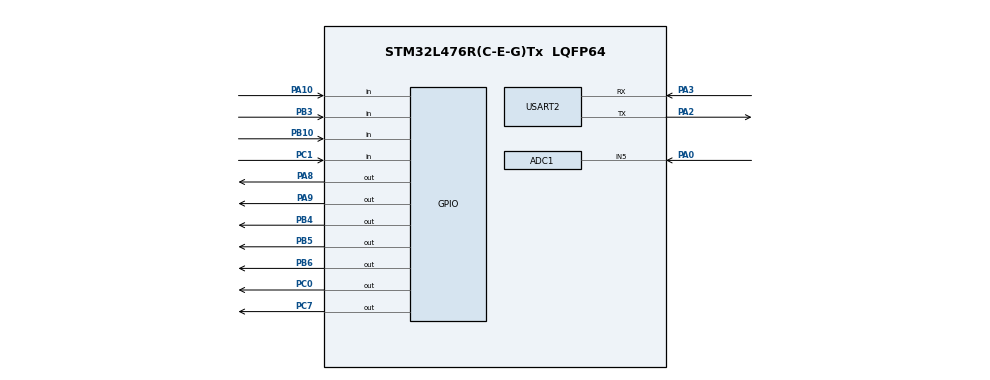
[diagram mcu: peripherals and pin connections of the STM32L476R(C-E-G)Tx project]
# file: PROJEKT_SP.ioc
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ADC1.Channel-3\#ChannelRegularConversion=ADC_CHANNEL_5
ADC1.ClockPrescaler=ADC_CLOCK_ASYNC_DIV4
ADC1.ContinuousConvMode=ENABLE
ADC1.NbrOfConversionFlag=1
ADC1.OffsetNumber-3\#ChannelRegularConversion=ADC_OFFSET_NONE
ADC1.Rank-3\#ChannelRegularConversion=1
ADC1.SamplingTime-3\#ChannelRegularConversion=ADC_SAMPLETIME_2CYCLES_5
ADC1.master=1
Mcu.Family=STM32L4
Mcu.Name=STM32L476R(C-E-G)Tx
Mcu.Package=LQFP64
NVIC.PriorityGroup=NVIC_PRIORITYGROUP_4
NVIC.TIM2_IRQn=true\:0\:0\:false\:false\:true\:true\:true\:true
NVIC.USART2_IRQn=true\:0\:0\:false\:false\:true\:true\:true\:true
PA0.Signal=ADCx_IN5
PA10.GPIO_PuPd=GPIO_PULLUP
PA10.Signal=GPIO_Input
PA2.Mode=Asynchronous
PA2.Signal=USART2_TX
PA3.Mode=Asynchronous
PA3.Signal=USART2_RX
PA8.Signal=GPIO_Output
PA9.Signal=GPIO_Output
PB10.GPIO_PuPd=GPIO_PULLUP
PB10.Signal=GPIO_Input
PB3\ (JTDO-TRACESWO).GPIO_PuPd=GPIO_PULLUP
PB3\ (JTDO-TRACESWO).Signal=GPIO_Input
PB4\ (NJTRST).Signal=GPIO_Output
PB5.Signal=GPIO_Output
PB6.Signal=GPIO_Output
PC0.Signal=GPIO_Output
PC1.Signal=GPIO_Input
PC7.Signal=GPIO_Output
ProjectManager.HeapSize=0x200
ProjectManager.StackSize=0x400
ProjectManager.TargetToolchain=STM32CubeIDE
RCC.ADCFreq_Value=64000000
RCC.AHBFreq_Value=80000000
RCC.APB1Freq_Value=80000000
RCC.APB1TimFreq_Value=80000000
RCC.APB2Freq_Value=80000000
RCC.APB2TimFreq_Value=80000000
RCC.CortexFreq_Value=80000000
RCC.HCLKFreq_Value=80000000
RCC.HSE_VALUE=8000000
RCC.HSI_VALUE=16000000
RCC.LSE_VALUE=32768
RCC.MSI_VALUE=4000000
RCC.PLLN=10
RCC.PLLSourceVirtual=RCC_PLLSOURCE_HSI
RCC.SYSCLKFreq_VALUE=80000000
RCC.SYSCLKSource=RCC_SYSCLKSOURCE_PLLCLK
RCC.USBFreq_Value=64000000
RCC.VCOOutputFreq_Value=160000000
SH.ADCx_IN5.0=ADC1_IN5,IN5-Single-Ended
TIM2.AutoReloadPreload=TIM_AUTORELOAD_PRELOAD_DISABLE
TIM2.Period=999
TIM2.Prescaler=7999
USART2.VirtualMode-Asynchronous=VM_ASYNC
VP_IWDG_VS_IWDG.Mode=IWDG_Activate
VP_RTC_VS_RTC_Activate.Mode=RTC_Enabled
VP_TIM2_VS_ClockSourceINT.Mode=Internal
board=custom

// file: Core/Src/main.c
/* USER CODE BEGIN Header */
/**
  ******************************************************************************
	Symulator sterownika PLC na STM32.
	Bloki: TON, TOF, CTU, CTD, R_TRIG.
  ******************************************************************************
  */
/* USER CODE END Header */

#include "main.h"
#include <stdio.h> //printf
#include <stdbool.h> //bool, true itp.
// nasza biblioteki (bloki logiczne)
#include "plc_blocks.h"

// wygenerowane
ADC_HandleTypeDef hadc1;       // Przetwornik Analogowo-Cyfrowy (Poziom wody)
IWDG_HandleTypeDef hiwdg;      // Watchdog
UART_HandleTypeDef huart2;     // Komunikacja szeregowa (Wysyłanie danych do PC)
RTC_HandleTypeDef hrtc;        // Zegar RTC + Rejestry Backup (Pamięć trwała)
TIM_HandleTypeDef htim2;       // Timer sprzętowy (Baza czasu)

/* USER CODE BEGIN PV */

// 1. KONFIGURACJA PARAMETRÓW

#define PLC_SCAN_TIME_MS    50     // Cykl programu (50ms = 20Hz)

// PARKING
#define PARKING_CAPACITY    5

// MIESZALNIK
#define MIXER_CYCLES_LIMIT  2       // serwis (CTD)
#define MIXER_TIME_TOTAL    10000
#define MIXER_PHASE_1       3000
#define MIXER_PHASE_2       8000
#define AUTO_RESET_TIME_MS  3000

// ZBIORNIK
#define TANK_MIN            10
#define TANK_MAX            90
#define PUMP_START_LVL      20
#define PUMP_STOP_LVL       80
#define PUMP_DELAY_MS       2000    // Czas opóźnienia załączenia pompy (TON)
#define FAN_COOLDOWN_MS     3000    // Czas chłodzenia po wyłączeniu (TOF)

// 2. PLC_BLOKI

// TONy
TON_Block    T_Mixer;
TON_Block    T_PumpDelay;
TON_Block    T_AutoReset;

// TOFy
TOF_Block    T_Fan; //pompa

// Liczniki (CTU, CTD)
CTU_Block    C_Parking_Entry;
CTD_Block    C_Service;
CTD_Block    C_Parking_Exit;

// Wyzwalacze (Triggers)
R_TRIG_Block Trig_Start;     // Wykrywanie zbocza narastającego (przycisk wyjazdu)

// 3. LOGIKA PLC - główna pętla

// Wejścia (Sensory i Przyciski)
typedef struct {
    bool Btn_Entry;     // Przycisk wjazdu
    bool Btn_Exit;      // Przycisk wyjazdu
    bool Btn_Start;     // Przycisk startu mieszalnika
    bool Car_Sensor;    // Czujnik (True = Auto w bramie)
    uint32_t Dist_CM;   // Odległość (cm)
    uint8_t Tank_Level; // Poziom wody (0-100%)
} Inputs_T;

// Wyjścia
typedef struct {
    bool Pump;          // Silnik pompy
    bool RGB_R;         // Dioda Czerwona
    bool RGB_G;         // Dioda Zielona
    bool RGB_B;         // Dioda Niebieska
    bool Led_Full;      // Lampa "Parking Pełny"
    bool Led_Free;      // Lampa "Parking Wolny"
    bool Fan_Cooling;   // Wentylator pompy
    bool Service_Req;   // dioda "Wymagany Serwis"
    bool Auto_Cleaning; // dioda "Trwa Czyszczenie"
} Outputs_T;

// Flagi
typedef struct {
    bool Mixer_Running;
    bool Alarm_Low;
    bool Alarm_High;
    bool Critical_Error;
} System_T;

Inputs_T  In;
Outputs_T Out;
System_T  Sys;

/* USER CODE END PV */

// Deklaracje funkcji
void SystemClock_Config(void);
static void MX_GPIO_Init(void);
static void MX_IWDG_Init(void);
static void MX_USART2_UART_Init(void);
static void MX_ADC1_Init(void);
static void MX_RTC_Init(void);
static void MX_TIM2_Init(void);

// funkcje sterujące
void ReadInputs(void);          // Krok 1: Odczyt
void Logic_Factory(void);       // Krok 2: Logika
void WriteOutputs(void);        // Krok 3: Sterowanie
void Safety_Check(void);        // Krok Bezpieczeństwa
void PrintDashboard(void);      // Wizualizacja
uint32_t HCSR04_Read(void);     // Czujnik odległości
void DrawBar(uint8_t val);      // Pasek poziomu cieczy

// PuTTY
int __io_putchar(int ch) {
    HAL_UART_Transmit(&huart2, (uint8_t*) &ch, 1, 10);
    return ch;
}
int _write(int file, char *ptr, int len) {
    for (int i = 0; i < len; i++) __io_putchar(*ptr++);
    return len;
}

int main(void)
{
  // Inicjalizacja sprzętu
  HAL_Init();
  SystemClock_Config();
  MX_GPIO_Init();
  MX_IWDG_Init();
  MX_USART2_UART_Init();
  MX_ADC1_Init();
  MX_RTC_Init();
  MX_TIM2_Init();

  HAL_PWR_EnableBkUpAccess();

  // INICJALIZACJA LOGIKI PLC
//--------------------------------------------------------------------------------
  // PARKING - Odtwarzanie stanu z pamięci
  uint32_t saved_parking = HAL_RTCEx_BKUPRead(&hrtc, RTC_BKP_DR0);
  // Zabezpieczenie przed złą ilością
  if(saved_parking > PARKING_CAPACITY) saved_parking = 0;

  C_Parking_Entry.CV = (uint16_t)saved_parking;
    C_Parking_Entry.PV = PARKING_CAPACITY;
    C_Parking_Entry.R  = false;

    C_Parking_Exit.PV = 0; // Limit wyjazdu to 0
    C_Parking_Exit.LD = false;

  // SERWIS - Odtwarzanie stanu z pamięci
  uint32_t saved_service = HAL_RTCEx_BKUPRead(&hrtc, RTC_BKP_DR1);
  // Jeśli pamięć 0 lub błędna -> Załaduj domyślny limit
  if (saved_service == 0 || saved_service > MIXER_CYCLES_LIMIT) {
      C_Service.CV = MIXER_CYCLES_LIMIT;
  } else {
      C_Service.CV = (uint16_t)saved_service;
  }
  C_Service.PV = MIXER_CYCLES_LIMIT;
  C_Service.LD = false;

  // Konfiguracja Timerów
  T_Mixer.PT = MIXER_TIME_TOTAL;
  T_PumpDelay.PT = PUMP_DELAY_MS;
  T_Fan.PT = FAN_COOLDOWN_MS;
  T_AutoReset.PT = AUTO_RESET_TIME_MS;

  HAL_ADCEx_Calibration_Start(&hadc1, ADC_SINGLE_ENDED);

  printf("\033[2J\033[H");
  printf("SYSTEM START: PLC - ZASTOSOWANIE (AUTO-RESET)\r\n");
//-----------------------------------------------------------------------------------------------
  // GŁÓWNA PĘTLA PLC
  while (1)
  {
      uint32_t loop_start = HAL_GetTick(); // Zapis czasu startu cyklu

      // ODCZYT WEJŚĆ
      ReadInputs();

      // KONTROLA BEZPIECZEŃSTWA
      Safety_Check();

      // WYKONANIE LOGIKI
      Logic_Factory();

      // ZAPIS WYJŚĆ
      WriteOutputs();

      // OBSŁUGA WATCHDOGA
      if (hiwdg.Instance != NULL) HAL_IWDG_Refresh(&hiwdg);

      // WIZUALIZACJA (HMI)
      static uint32_t last_print = 0;
      if (loop_start - last_print > 250) {
          last_print = loop_start;
          PrintDashboard();
      }

      // STAŁY CZAS CYKLU
      while((HAL_GetTick() - loop_start) < PLC_SCAN_TIME_MS) {
          __NOP(); // Nic nie rób (czekaj)
      }
  }
}

    void Logic_Factory(void) {

        // PARKING (CTU + CTD = CTUD)

        // Przekaż stan z CTU do CTD
        C_Parking_Exit.CV = C_Parking_Entry.CV;

        // WYJAZD (Blok CTD)
        C_Parking_Exit.CD = In.Btn_Exit;
        CTD_Update(&C_Parking_Exit);

        C_Parking_Entry.CV = C_Parking_Exit.CV;

        // WJAZD (Blok CTU)
        C_Parking_Entry.CU = In.Btn_Entry;
        CTU_Update(&C_Parking_Entry);

        if (C_Parking_Entry.CV > C_Parking_Entry.PV) C_Parking_Entry.CV = C_Parking_Entry.PV;

        static uint16_t last_park_cv = 0;
        if (C_Parking_Entry.CV != last_park_cv) {
            HAL_RTCEx_BKUPWrite(&hrtc, RTC_BKP_DR0, C_Parking_Entry.CV);
            last_park_cv = C_Parking_Entry.CV;
        }

        if (C_Parking_Entry.Q) { Out.Led_Full = true; Out.Led_Free = false; }
        else                   { Out.Led_Full = false; Out.Led_Free = true; }

    // ZBIORNIK

    // Wykrywanie alarmów
    Sys.Alarm_Low  = (In.Tank_Level < TANK_MIN);
    Sys.Alarm_High = (In.Tank_Level > TANK_MAX);

    // POMPA - Timer TON
    T_PumpDelay.IN = (In.Tank_Level < PUMP_START_LVL);
    TON_Update(&T_PumpDelay);

    // Logika sterowania pompą (Histereza + Timer)
    if (T_PumpDelay.Q) Out.Pump = true; // Włącz po opóźnieniu
    if (In.Tank_Level > PUMP_STOP_LVL || Sys.Alarm_High) Out.Pump = false; // Wyłącz natychmiast

    // WENTYLATOR - Timer TOF
    T_Fan.IN = Out.Pump;
    TOF_Update(&T_Fan);
    Out.Fan_Cooling = T_Fan.Q; // dioda

    // MIESZALNIK

    if (C_Service.Q) {
        T_AutoReset.IN = true;    // Uruchom timer czyszczenia
        Out.Auto_Cleaning = true; // Zapal lampę - czyszczenie
    } else {
        T_AutoReset.IN = false;
        Out.Auto_Cleaning = false;
    }

    TON_Update(&T_AutoReset);

    if (T_AutoReset.Q) {
        C_Service.LD = true;
    } else {
        C_Service.LD = false;
    }

    // Blokada startu - jesli ok mozesz ruszac
    bool service_ok = !C_Service.Q;

    //TRIGGER
        Trig_Start.CLK = In.Btn_Start;

        R_TRIG_Update(&Trig_Start);

        if (Trig_Start.Q && service_ok) {
            Sys.Mixer_Running = true;
        }

    // Timer TON
    T_Mixer.IN = Sys.Mixer_Running;
    TON_Update(&T_Mixer);

    // Zmienna pomocnicza do wykrycia końca cyklu (impuls)
    bool cycle_finished_pulse = false;

    Out.RGB_R = 0; Out.RGB_G = 0; Out.RGB_B = 0;
    if (Sys.Mixer_Running) {
        uint32_t t = T_Mixer.ET;
        if (t < MIXER_PHASE_1)      Out.RGB_B = true; // Faza 1
        else if (t < MIXER_PHASE_2) Out.RGB_G = true; // Faza 2
        else                        Out.RGB_R = true; // Faza 3

        // Koniec procesu (Timer doliczył)
        if (T_Mixer.Q) {
            cycle_finished_pulse = true; // Wygeneruj impuls dla licznika
            Sys.Mixer_Running = false;   // Zatrzymaj proces
            T_Mixer.IN = false;          // Resetuj wejście timera
            TON_Update(&T_Mixer);        // Wykonaj update, żeby wyzerować ET
        }
    }

    // Blok CTD (Counter Down)
    C_Service.CD = cycle_finished_pulse;
    CTD_Update(&C_Service);

    // Zapis stanu licznika do pamięci trwałej
    static uint16_t last_service_cv = 0;
    if (C_Service.CV != last_service_cv) {
        HAL_RTCEx_BKUPWrite(&hrtc, RTC_BKP_DR1, C_Service.CV);
        last_service_cv = C_Service.CV;
    }

    // Aktualizacja statusu
    Out.Service_Req = C_Service.Q; // Q=true gdy licznik osiągnie 0
}

// WARSTWA SPRZĘTOWA

void ReadInputs(void) {

    static uint32_t adc_sum = 0;
    static uint8_t adc_count = 0;
    static uint8_t target_level = 0;
    static float simulated_water = 0.0f;

    HAL_ADC_Start(&hadc1);
    if (HAL_ADC_PollForConversion(&hadc1, 10) == HAL_OK) {
        adc_sum += HAL_ADC_GetValue(&hadc1);
        adc_count++;
    }
    if (adc_count >= 10) {
        target_level = ((adc_sum / 10) * 100) / 4095;
        adc_sum = 0; adc_count = 0;
    }

    const float FILL_SPEED = 2.0f;

    if (simulated_water < target_level) {
        simulated_water += FILL_SPEED; // Napełnianie
        if (simulated_water > target_level) simulated_water = target_level;
    }
    else if (simulated_water > target_level) {
        simulated_water -= FILL_SPEED; // Opróżnianie
        if (simulated_water < target_level) simulated_water = target_level;
    }
    In.Tank_Level = (uint8_t)simulated_water;

    // CZUJNIK ODLEGŁOŚCI
    In.Dist_CM = HCSR04_Read();
    In.Car_Sensor = (In.Dist_CM > 0 && In.Dist_CM < 15); // Auto < 15cm

    // PRZYCISKI
    bool btn_phys_entry = (HAL_GPIO_ReadPin(GPIOA, GPIO_PIN_10) == GPIO_PIN_RESET);
    In.Btn_Entry = btn_phys_entry || In.Car_Sensor; // Przycisk LUB czujnik
    In.Btn_Exit  = (HAL_GPIO_ReadPin(GPIOB, GPIO_PIN_3) == GPIO_PIN_RESET);
    In.Btn_Start = (HAL_GPIO_ReadPin(GPIOB, GPIO_PIN_10) == GPIO_PIN_RESET);
}

void WriteOutputs(void) {
    // Przepisanie stanów logicznych (true/false) na napięcia (3.3V/0V)
    HAL_GPIO_WritePin(GPIOA, GPIO_PIN_8, Out.Pump ? GPIO_PIN_SET : GPIO_PIN_RESET);
    HAL_GPIO_WritePin(GPIOB, GPIO_PIN_4, Out.Led_Full ? GPIO_PIN_SET : GPIO_PIN_RESET);
    HAL_GPIO_WritePin(GPIOB, GPIO_PIN_5, Out.Led_Free ? GPIO_PIN_SET : GPIO_PIN_RESET);
    // Diody RGB
    HAL_GPIO_WritePin(GPIOA, GPIO_PIN_9, Out.RGB_R ? GPIO_PIN_RESET : GPIO_PIN_SET);
    HAL_GPIO_WritePin(GPIOC, GPIO_PIN_7, Out.RGB_G ? GPIO_PIN_RESET : GPIO_PIN_SET);
    HAL_GPIO_WritePin(GPIOB, GPIO_PIN_6, Out.RGB_B ? GPIO_PIN_RESET : GPIO_PIN_SET);
}

// Funkcja bezpieczeństwa
void Safety_Check(void) {
    if (In.Car_Sensor && In.Btn_Exit) Sys.Critical_Error = true;

    if (Sys.Critical_Error) {
        HAL_GPIO_WritePin(GPIOA, GPIO_PIN_8, GPIO_PIN_RESET); // Wyłącz pompę!
        printf("\033[2J\033[H!!! CRITICAL ERROR !!!\r\n");
        while(1); // Zawieś procesor (czekaj na Watchdog)
    }
}

// Obsługa czujnika HC-SR04
uint32_t HCSR04_Read(void) {
    uint32_t local_time = 0;
    // 1. Trigger (Impuls 10us)
    HAL_GPIO_WritePin(GPIOC, GPIO_PIN_0, GPIO_PIN_RESET); for(int i=0;i<500;i++);
    HAL_GPIO_WritePin(GPIOC, GPIO_PIN_0, GPIO_PIN_SET);   for(int i=0;i<2000;i++);
    HAL_GPIO_WritePin(GPIOC, GPIO_PIN_0, GPIO_PIN_RESET);
    // 2. Czekaj na Echo
    uint32_t t = 50000;
    while (HAL_GPIO_ReadPin(GPIOC, GPIO_PIN_1) == GPIO_PIN_RESET) { if(t-- == 0) return 0; }
    // 3. Mierz czas trwania Echo
    t = 50000;
    while (HAL_GPIO_ReadPin(GPIOC, GPIO_PIN_1) == GPIO_PIN_SET) { local_time++; if(t-- == 0) break; }
    return local_time / 50; // Skalowanie do cm
}

void DrawBar(uint8_t val) {
    printf("[");
    for(int i=0; i<20; i++) printf((i < val/5) ? "#" : ".");
    printf("]");
}

// Wizualizacja w terminalu PuTTY
void PrintDashboard(void) {
    printf("\033[?25l\033[H");
    printf("PROJEKT_SPC_STEROWNIK_PLC_NA_STM32)\033[K\r\n");
    printf("Bloki: TON, TOF, CTU, CTD, R_TRIG\033[K\r\n\r\n");

    printf("[1] ZBIORNIK (TON + TOF)\033[K\r\n");
    printf("    Poziom: "); DrawBar(In.Tank_Level); printf(" %3d%%\033[K\r\n", In.Tank_Level);
    printf("    Pompa:  %s  (Timer ON:  %4lu ms)\033[K\r\n", Out.Pump ? "\033[32m[ON] \033[0m" : "[OFF]", T_PumpDelay.ET);
    printf("    Wentyl: %s  (Timer OFF: %4lu ms)\033[K\r\n",
           Out.Fan_Cooling ? "\033[36m[RUN]\033[0m" : "[---]", T_Fan.ET);

    printf("--------------------------------------------\033[K\r\n");

    printf("[2] PARKING (CTU + CTD)\033[K\r\n");
    printf("    Licznik: [%d / %d] (CV / PV)\033[K\r\n", C_Parking_Entry.CV, C_Parking_Entry.PV);
    printf("    Status:  %s\033[K\r\n",
           Out.Led_Full ? "\033[31m[ PELNY ]\033[0m" : "\033[32m[ WOLNY ]\033[0m");

    printf("--------------------------------------------\033[K\r\n");

    printf("[3] MIESZALNIK (TON + CTD + R_TRIG)\033[K\r\n");
    printf("    Status:  ");
    if(Out.RGB_B) printf("\033[34m[ NALEWANIE ]\033[0m");
    else if(Out.RGB_G) printf("\033[32m[ MIESZANIE ]\033[0m");
    else if(Out.RGB_R) printf("\033[31m[ WYLEWANIE ]\033[0m");
    else printf("[ STOP ]     ");
    printf(" (%4lu ms)\033[K\r\n", T_Mixer.ET);

    if (Out.Auto_Cleaning) {
        printf("    Serwis:  \033[33m[ CZYSZCZENIE... %lu ms ]\033[0m\033[K\r\n",
               T_AutoReset.PT - T_AutoReset.ET);
    } else {
        printf("    Serwis:  [liczba cykli do końca: %d] %s\033[K\r\n", C_Service.CV,
               Out.Service_Req ? "\033[31m[WAIT...]\033[0m" : "\033[32m[OK]\033[0m");
    }

    printf("\033[J");
}

// stm - generowanie
void SystemClock_Config(void) { RCC_OscInitTypeDef RCC_OscInitStruct = {0}; RCC_ClkInitTypeDef RCC_ClkInitStruct = {0}; HAL_PWREx_ControlVoltageScaling(PWR_REGULATOR_VOLTAGE_SCALE1); RCC_OscInitStruct.OscillatorType = RCC_OSCILLATORTYPE_HSI|RCC_OSCILLATORTYPE_LSI; RCC_OscInitStruct.HSIState = RCC_HSI_ON; RCC_OscInitStruct.HSICalibrationValue = RCC_HSICALIBRATION_DEFAULT; RCC_OscInitStruct.LSIState = RCC_LSI_ON; RCC_OscInitStruct.PLL.PLLState = RCC_PLL_ON; RCC_OscInitStruct.PLL.PLLSource = RCC_PLLSOURCE_HSI; RCC_OscInitStruct.PLL.PLLM = 1; RCC_OscInitStruct.PLL.PLLN = 10; RCC_OscInitStruct.PLL.PLLP = RCC_PLLP_DIV7; RCC_OscInitStruct.PLL.PLLQ = RCC_PLLQ_DIV2; RCC_OscInitStruct.PLL.PLLR = RCC_PLLR_DIV2; HAL_RCC_OscConfig(&RCC_OscInitStruct); RCC_ClkInitStruct.ClockType = RCC_CLOCKTYPE_HCLK|RCC_CLOCKTYPE_SYSCLK|RCC_CLOCKTYPE_PCLK1|RCC_CLOCKTYPE_PCLK2; RCC_ClkInitStruct.SYSCLKSource = RCC_SYSCLKSOURCE_PLLCLK; RCC_ClkInitStruct.AHBCLKDivider = RCC_SYSCLK_DIV1; RCC_ClkInitStruct.APB1CLKDivider = RCC_HCLK_DIV1; RCC_ClkInitStruct.APB2CLKDivider = RCC_HCLK_DIV1; HAL_RCC_ClockConfig(&RCC_ClkInitStruct, FLASH_LATENCY_4); }
static void MX_GPIO_Init(void) { GPIO_InitTypeDef GPIO_InitStruct = {0}; __HAL_RCC_GPIOC_CLK_ENABLE(); __HAL_RCC_GPIOH_CLK_ENABLE(); __HAL_RCC_GPIOA_CLK_ENABLE(); __HAL_RCC_GPIOB_CLK_ENABLE(); HAL_GPIO_WritePin(GPIOC, GPIO_PIN_0|GPIO_PIN_7, GPIO_PIN_RESET); HAL_GPIO_WritePin(GPIOA, GPIO_PIN_8|GPIO_PIN_9, GPIO_PIN_RESET); HAL_GPIO_WritePin(GPIOB, GPIO_PIN_4|GPIO_PIN_5|GPIO_PIN_6, GPIO_PIN_RESET); GPIO_InitStruct.Pin = GPIO_PIN_0|GPIO_PIN_7; GPIO_InitStruct.Mode = GPIO_MODE_OUTPUT_PP; GPIO_InitStruct.Pull = GPIO_NOPULL; GPIO_InitStruct.Speed = GPIO_SPEED_FREQ_LOW; HAL_GPIO_Init(GPIOC, &GPIO_InitStruct); GPIO_InitStruct.Pin = GPIO_PIN_1; GPIO_InitStruct.Mode = GPIO_MODE_INPUT; GPIO_InitStruct.Pull = GPIO_NOPULL; HAL_GPIO_Init(GPIOC, &GPIO_InitStruct); GPIO_InitStruct.Pin = GPIO_PIN_8|GPIO_PIN_9; GPIO_InitStruct.Mode = GPIO_MODE_OUTPUT_PP; GPIO_InitStruct.Pull = GPIO_NOPULL; GPIO_InitStruct.Speed = GPIO_SPEED_FREQ_LOW; HAL_GPIO_Init(GPIOA, &GPIO_InitStruct); GPIO_InitStruct.Pin = GPIO_PIN_10; GPIO_InitStruct.Mode = GPIO_MODE_INPUT; GPIO_InitStruct.Pull = GPIO_PULLUP; HAL_GPIO_Init(GPIOA, &GPIO_InitStruct); GPIO_InitStruct.Pin = GPIO_PIN_3|GPIO_PIN_10; GPIO_InitStruct.Mode = GPIO_MODE_INPUT; GPIO_InitStruct.Pull = GPIO_PULLUP; HAL_GPIO_Init(GPIOB, &GPIO_InitStruct); GPIO_InitStruct.Pin = GPIO_PIN_4|GPIO_PIN_5|GPIO_PIN_6; GPIO_InitStruct.Mode = GPIO_MODE_OUTPUT_PP; GPIO_InitStruct.Pull = GPIO_NOPULL; GPIO_InitStruct.Speed = GPIO_SPEED_FREQ_LOW; HAL_GPIO_Init(GPIOB, &GPIO_InitStruct); }
static void MX_USART2_UART_Init(void) { huart2.Instance = USART2; huart2.Init.BaudRate = 115200; huart2.Init.WordLength = UART_WORDLENGTH_8B; huart2.Init.StopBits = UART_STOPBITS_1; huart2.Init.Parity = UART_PARITY_NONE; huart2.Init.Mode = UART_MODE_TX_RX; huart2.Init.HwFlowCtl = UART_HWCONTROL_NONE; huart2.Init.OverSampling = UART_OVERSAMPLING_16; HAL_UART_Init(&huart2); }
static void MX_ADC1_Init(void) { ADC_ChannelConfTypeDef sConfig = {0}; hadc1.Instance = ADC1; hadc1.Init.ClockPrescaler = ADC_CLOCK_ASYNC_DIV4; hadc1.Init.Resolution = ADC_RESOLUTION_12B; hadc1.Init.DataAlign = ADC_DATAALIGN_RIGHT; hadc1.Init.ScanConvMode = ADC_SCAN_DISABLE; hadc1.Init.EOCSelection = ADC_EOC_SINGLE_CONV; hadc1.Init.LowPowerAutoWait = DISABLE; hadc1.Init.ContinuousConvMode = DISABLE; hadc1.Init.NbrOfConversion = 1; hadc1.Init.DiscontinuousConvMode = DISABLE; hadc1.Init.ExternalTrigConv = ADC_SOFTWARE_START; hadc1.Init.ExternalTrigConvEdge = ADC_EXTERNALTRIGCONVEDGE_NONE; hadc1.Init.DMAContinuousRequests = DISABLE; hadc1.Init.Overrun = ADC_OVR_DATA_PRESERVED; hadc1.Init.OversamplingMode = DISABLE; HAL_ADC_Init(&hadc1); sConfig.Channel = ADC_CHANNEL_5; sConfig.Rank = ADC_REGULAR_RANK_1; sConfig.SamplingTime = ADC_SAMPLETIME_47CYCLES_5; sConfig.SingleDiff = ADC_SINGLE_ENDED; sConfig.OffsetNumber = ADC_OFFSET_NONE; sConfig.Offset = 0; HAL_ADC_ConfigChannel(&hadc1, &sConfig); }
static void MX_IWDG_Init(void) { hiwdg.Instance = IWDG; hiwdg.Init.Prescaler = IWDG_PRESCALER_32; hiwdg.Init.Window = 4095; hiwdg.Init.Reload = 300; HAL_IWDG_Init(&hiwdg); }
static void MX_RTC_Init(void) { hrtc.Instance = RTC; hrtc.Init.HourFormat = RTC_HOURFORMAT_24; hrtc.Init.AsynchPrediv = 127; hrtc.Init.SynchPrediv = 255; hrtc.Init.OutPut = RTC_OUTPUT_DISABLE; HAL_RTC_Init(&hrtc); }
static void MX_TIM2_Init(void) { TIM_ClockConfigTypeDef sClockSourceConfig = {0}; TIM_MasterConfigTypeDef sMasterConfig = {0}; htim2.Instance = TIM2; htim2.Init.Prescaler = 7999; htim2.Init.CounterMode = TIM_COUNTERMODE_UP; htim2.Init.Period = 999; htim2.Init.ClockDivision = TIM_CLOCKDIVISION_DIV1; htim2.Init.AutoReloadPreload = TIM_AUTORELOAD_PRELOAD_DISABLE; HAL_TIM_Base_Init(&htim2); sClockSourceConfig.ClockSource = TIM_CLOCKSOURCE_INTERNAL; HAL_TIM_ConfigClockSource(&htim2, &sClockSourceConfig); sMasterConfig.MasterOutputTrigger = TIM_TRGO_RESET; sMasterConfig.MasterSlaveMode = TIM_MASTERSLAVEMODE_DISABLE; HAL_TIMEx_MasterConfigSynchronization(&htim2, &sMasterConfig); }
void Error_Handler(void) { __disable_irq(); while (1) {} }
